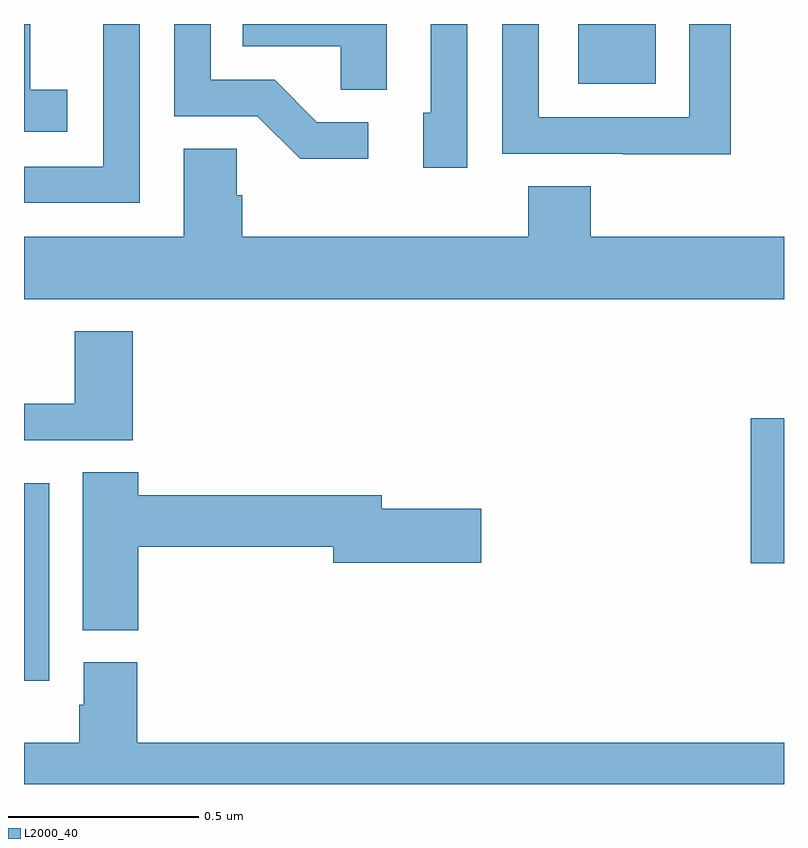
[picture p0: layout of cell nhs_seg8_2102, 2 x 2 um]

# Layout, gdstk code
import gdstk
lib = gdstk.Library(unit=1e-6, precision=1e-09)
def R(c, l, rs):  # rectangles x0, y0, x1, y1
    for r in rs: c.add(gdstk.rectangle(r[:2], r[2:], *l))
def P(c, l, *ps):  # polygons
    for p in ps: c.add(gdstk.Polygon(p, *l))
L2000_40 = (2000, 40)

nhs_seg8_2102 = lib.new_cell('nhs_seg8_2102')
R(nhs_seg8_2102, L2000_40, [(139,1106.172,139.066,1106.692), (140.912,1106.481,141,1106.862), (140.459,1107.743,140.662,1107.9)])
P(nhs_seg8_2102, L2000_40, [(140.86,1107.9),(140.751,1107.9),(140.751,1107.654),(140.355,1107.654),(140.355,1107.9),(140.259,1107.9),(140.259,1107.558),(140.575,1107.558),(140.575,1107.557),(140.86,1107.557)],
  [(139.906,1107.642),(139.771,1107.642),(139.66,1107.753),(139.491,1107.753),(139.491,1107.9),(139.395,1107.9),(139.395,1107.657),(139.614,1107.657),(139.727,1107.545),(139.906,1107.545)],
  [(139.114,1107.727),(139.016,1107.727),(139.016,1107.9),(139,1107.9),(139,1107.617),(139.114,1107.617)],
  [(139.305,1107.9),(139.209,1107.9),(139.209,1107.525),(139,1107.525),(139,1107.429),(139.305,1107.429)],
  [(140.166,1107.9),(140.07,1107.9),(140.07,1107.666),(140.051,1107.666),(140.051,1107.522),(140.166,1107.522)],
  [(139.954,1107.9),(139.576,1107.9),(139.576,1107.842),(139.833,1107.842),(139.833,1107.727),(139.954,1107.727)],
  [(141,1107.34),(140.492,1107.34),(140.492,1107.473),(140.327,1107.473),(140.327,1107.34),(139.574,1107.34),(139.574,1107.449),(139.56,1107.449),(139.56,1107.572),(139.421,1107.572),(139.421,1107.34),(139,1107.34),(139,1107.176),(141,1107.176)],
  [(139.286,1107.091),(139.133,1107.091),(139.133,1106.901),(139,1106.901),(139,1106.805),(139.286,1106.805)],
  [(139.301,1106.524),(139.814,1106.524),(139.814,1106.482),(140.203,1106.482),(140.203,1106.624),(139.942,1106.624),(139.942,1106.66),(139.301,1106.66),(139.301,1106.72),(139.154,1106.72),(139.154,1106.305),(139.301,1106.305)],
  [(141,1106.008),(139.298,1106.008),(139.298,1106.22),(139.157,1106.22),(139.157,1106.109),(139.145,1106.109),(139.145,1106.008),(139,1106.008),(139,1105.9),(141,1105.9)])

lib.write_gds('nhs_seg8_2102.gds')
